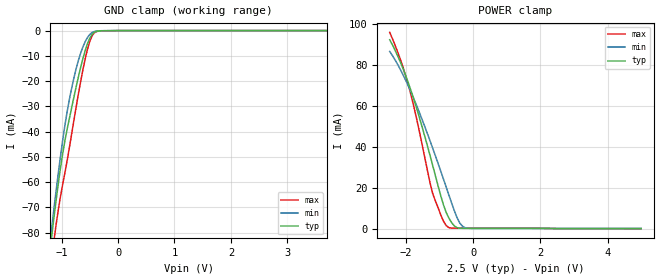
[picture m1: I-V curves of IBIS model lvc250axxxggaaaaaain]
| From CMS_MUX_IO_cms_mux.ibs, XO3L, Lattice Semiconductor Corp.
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[Model]   lvc250axxxggaaaaaain
Model_type   Input
Polarity   Non-Inverting
Enable   Active-Low
Vinl =   0.7000V
Vinh =   1.7000V
C_comp   4.2000pF   3.8000pF   7.5000pF
[Temperature Range]   25.0000   0.1250k   -40.0000
[Voltage Range]   2.5000V   2.3800V   2.6300V
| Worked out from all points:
|   GND clamp passes 1 mA (typ) near -0.44 V on its own axis
|   POWER clamp passes 1 mA (typ) near -0.53 V on its own axis
[GND_clamp]
|Voltage   I(typ)   I(min)   I(max)
-2.5V     -564.7mA   -543.1mA   -585.2mA
-1.18V    -82.37mA   -79.05mA   -91.19mA
-1.14V    -74.91mA   -71.4mA    -84.01mA
-1.1V     -67.72mA   -63.96mA   -77.3mA
-980mV    -48.69mA   -43.39mA   -60.85mA
-820mV    -30.38mA   -22.68mA   -40.71mA
-620mV    -10.92mA   -6.374mA   -15.3mA
-540mV    -5.123mA   -2.7mA     -7.317mA
-460mV    -1.524mA   -767.4uA   -2.097mA
-380mV    -292.5uA   -172.6uA   -366.3uA
20mV      0A         0A         0A
5V        0A         0A         0A
[POWER_clamp]
|Voltage   I(typ)   I(min)   I(max)
-2.48V    92.22mA    86.5mA     95.83mA
-2.16V    81.19mA    77.59mA    82.43mA
-1.84V    67mA       66.38mA    64.75mA
-1.52V    49.86mA    53.4mA     41.33mA
-1.28V    35.63mA    42.81mA    22.28mA
-1.2V     30.7mA     39.17mA    17mA
-960mV    15.93mA    27.93mA    6.582mA
-800mV    7.851mA    20.23mA    1.424mA
-560mV    1.299mA    8.796mA    199.2uA
-400mV    169.6uA    2.771mA    193.9uA
-160mV    101.6uA    144.1uA    192.3uA
5V        -4.578uA   -1.793uA   -63.13uA
